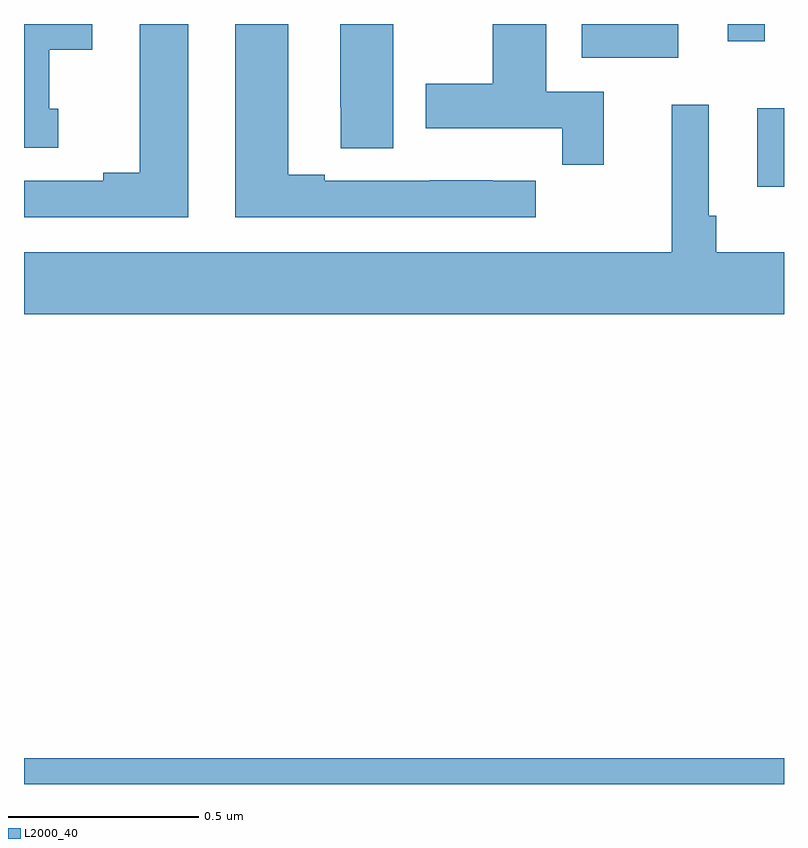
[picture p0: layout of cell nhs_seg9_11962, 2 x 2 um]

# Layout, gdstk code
import gdstk
lib = gdstk.Library(unit=1e-6, precision=1e-09)
def R(c, l, rs):  # rectangles x0, y0, x1, y1
    for r in rs: c.add(gdstk.rectangle(r[:2], r[2:], *l))
def P(c, l, *ps):  # polygons
    for p in ps: c.add(gdstk.Polygon(p, *l))
L2000_40 = (2000, 40)

nhs_seg9_11962 = lib.new_cell('nhs_seg9_11962')
R(nhs_seg9_11962, L2000_40, [(262,1212.5,264,1212.568), (263.93,1214.072,264,1214.278), (263.468,1214.411,263.722,1214.5), (263.852,1214.454,263.949,1214.5)])
P(nhs_seg9_11962, L2000_40, [(262.09,1214.277),(262.066,1214.277),(262.066,1214.432),(262.18,1214.432),(262.18,1214.5),(262,1214.5),(262,1214.175),(262.09,1214.175)],
  [(263.347,1214.088),(263.234,1214.088),(263.234,1214.089),(263.068,1214.089),(263.068,1214.088),(262.792,1214.088),(262.792,1214.103),(262.696,1214.103),(262.696,1214.5),(262.556,1214.5),(262.556,1213.992),(263.347,1213.992)],
  [(263.525,1214.322),(263.374,1214.322),(263.374,1214.5),(263.234,1214.5),(263.234,1214.343),(263.057,1214.343),(263.057,1214.226),(263.416,1214.226),(263.416,1214.13),(263.525,1214.13)],
  [(262.972,1214.5),(262.832,1214.5),(262.832,1214.281),(262.833,1214.281),(262.833,1214.173),(262.972,1214.173)],
  [(262.432,1214.5),(262.304,1214.5),(262.304,1214.108),(262.208,1214.108),(262.208,1214.088),(262,1214.088),(262,1213.992),(262.432,1213.992)],
  [(264,1213.9),(263.822,1213.9),(263.822,1213.996),(263.802,1213.996),(263.802,1214.287),(263.705,1214.287),(263.705,1213.9),(262,1213.9),(262,1213.736),(264,1213.736)])

lib.write_gds('nhs_seg9_11962.gds')
